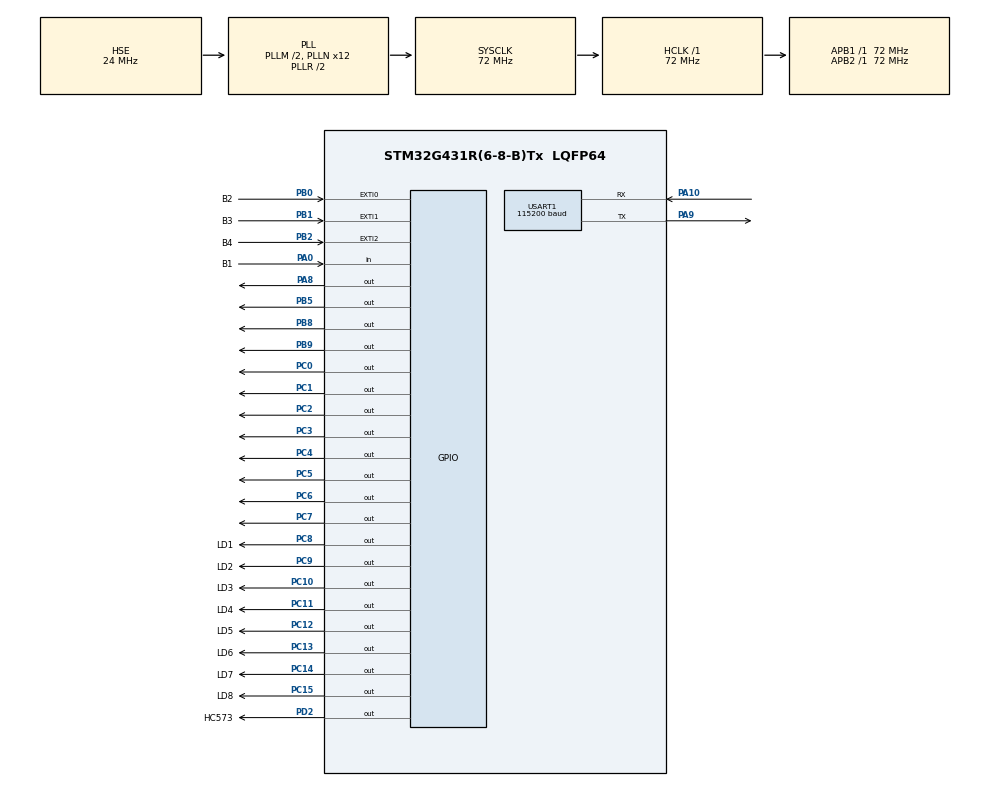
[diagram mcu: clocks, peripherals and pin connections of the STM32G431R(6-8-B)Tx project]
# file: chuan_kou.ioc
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Dma.Request0=USART1_RX
Dma.Request1=USART1_TX
Dma.USART1_RX.0.Direction=DMA_PERIPH_TO_MEMORY
Dma.USART1_RX.0.EventEnable=DISABLE
Dma.USART1_RX.0.Instance=DMA1_Channel1
Dma.USART1_RX.0.MemDataAlignment=DMA_MDATAALIGN_BYTE
Dma.USART1_RX.0.MemInc=DMA_MINC_ENABLE
Dma.USART1_RX.0.Mode=DMA_NORMAL
Dma.USART1_RX.0.PeriphDataAlignment=DMA_PDATAALIGN_BYTE
Dma.USART1_RX.0.PeriphInc=DMA_PINC_DISABLE
Dma.USART1_RX.0.Polarity=HAL_DMAMUX_REQ_GEN_RISING
Dma.USART1_RX.0.Priority=DMA_PRIORITY_LOW
Dma.USART1_RX.0.RequestNumber=1
Dma.USART1_RX.0.SignalID=NONE
Dma.USART1_RX.0.SyncEnable=DISABLE
Dma.USART1_RX.0.SyncPolarity=HAL_DMAMUX_SYNC_NO_EVENT
Dma.USART1_RX.0.SyncRequestNumber=1
Dma.USART1_RX.0.SyncSignalID=NONE
Dma.USART1_TX.1.Direction=DMA_MEMORY_TO_PERIPH
Dma.USART1_TX.1.EventEnable=DISABLE
Dma.USART1_TX.1.Instance=DMA1_Channel2
Dma.USART1_TX.1.MemDataAlignment=DMA_MDATAALIGN_BYTE
Dma.USART1_TX.1.MemInc=DMA_MINC_ENABLE
Dma.USART1_TX.1.Mode=DMA_NORMAL
Dma.USART1_TX.1.PeriphDataAlignment=DMA_PDATAALIGN_BYTE
Dma.USART1_TX.1.PeriphInc=DMA_PINC_DISABLE
Dma.USART1_TX.1.Polarity=HAL_DMAMUX_REQ_GEN_RISING
Dma.USART1_TX.1.Priority=DMA_PRIORITY_LOW
Dma.USART1_TX.1.RequestNumber=1
Dma.USART1_TX.1.SignalID=NONE
Dma.USART1_TX.1.SyncEnable=DISABLE
Dma.USART1_TX.1.SyncPolarity=HAL_DMAMUX_SYNC_NO_EVENT
Dma.USART1_TX.1.SyncRequestNumber=1
Dma.USART1_TX.1.SyncSignalID=NONE
Mcu.Family=STM32G4
Mcu.Name=STM32G431R(6-8-B)Tx
Mcu.Package=LQFP64
NVIC.DMA1_Channel1_IRQn=true\:0\:0\:false\:false\:true\:false\:true\:true
NVIC.DMA1_Channel2_IRQn=true\:0\:0\:false\:false\:true\:false\:true\:true
NVIC.EXTI0_IRQn=true\:15\:0\:true\:false\:true\:true\:true\:true
NVIC.EXTI1_IRQn=true\:15\:0\:true\:false\:true\:true\:true\:true
NVIC.EXTI2_IRQn=true\:15\:0\:true\:false\:true\:true\:true\:true
NVIC.PriorityGroup=NVIC_PRIORITYGROUP_4
NVIC.USART1_IRQn=true\:0\:0\:false\:false\:true\:true\:true\:true
PA0.GPIO_Label=B1
PA0.GPIO_PuPd=GPIO_PULLUP
PA0.Signal=GPIO_Input
PA10.Mode=Asynchronous
PA10.Signal=USART1_RX
PA13.Mode=Serial_Wire
PA13.Signal=SYS_JTMS-SWDIO
PA14.Mode=Serial_Wire
PA14.Signal=SYS_JTCK-SWCLK
PA8.Signal=GPIO_Output
PA9.Mode=Asynchronous
PA9.Signal=USART1_TX
PB0.GPIO_Label=B2
PB0.Signal=GPXTI0
PB1.GPIO_Label=B3
PB1.GPIO_ModeDefaultEXTI=GPIO_MODE_IT_FALLING
PB1.GPIO_PuPd=GPIO_PULLUP
PB1.Signal=GPXTI1
PB2.GPIO_Label=B4
PB2.GPIO_ModeDefaultEXTI=GPIO_MODE_IT_FALLING
PB2.GPIO_PuPd=GPIO_PULLUP
PB2.Signal=GPXTI2
PB5.Signal=GPIO_Output
PB8-BOOT0.Signal=GPIO_Output
PB9.Signal=GPIO_Output
PC0.Signal=GPIO_Output
PC1.Signal=GPIO_Output
PC10.GPIO_Label=LD3
PC10.Signal=GPIO_Output
PC11.GPIO_Label=LD4
PC11.Signal=GPIO_Output
PC12.GPIO_Label=LD5
PC12.Signal=GPIO_Output
PC13.GPIO_Label=LD6
PC13.Signal=GPIO_Output
PC14-OSC32_IN.GPIO_Label=LD7
PC14-OSC32_IN.Signal=GPIO_Output
PC15-OSC32_OUT.GPIO_Label=LD8
PC15-OSC32_OUT.Signal=GPIO_Output
PC2.Signal=GPIO_Output
PC3.Signal=GPIO_Output
PC4.Signal=GPIO_Output
PC5.Signal=GPIO_Output
PC6.Signal=GPIO_Output
PC7.Signal=GPIO_Output
PC8.GPIO_Label=LD1
PC8.Signal=GPIO_Output
PC9.GPIO_Label=LD2
PC9.Signal=GPIO_Output
PD2.GPIO_Label=HC573
PD2.Signal=GPIO_Output
PF0-OSC_IN.Mode=HSE-External-Oscillator
PF0-OSC_IN.Signal=RCC_OSC_IN
PF1-OSC_OUT.Mode=HSE-External-Oscillator
PF1-OSC_OUT.Signal=RCC_OSC_OUT
ProjectManager.HeapSize=0x200
ProjectManager.StackSize=0x400
ProjectManager.TargetToolchain=MDK-ARM V5
RCC.ADC12Freq_Value=72000000
RCC.AHBFreq_Value=72000000
RCC.APB1Freq_Value=72000000
RCC.APB1TimFreq_Value=72000000
RCC.APB2Freq_Value=72000000
RCC.APB2TimFreq_Value=72000000
RCC.CortexFreq_Value=72000000
RCC.EXTERNAL_CLOCK_VALUE=12288000
RCC.HCLKFreq_Value=72000000
RCC.HSE_VALUE=24000000
RCC.HSI48_VALUE=48000000
RCC.HSI_VALUE=16000000
RCC.LSE_VALUE=32768
RCC.PLLM=RCC_PLLM_DIV2
RCC.PLLN=12
RCC.PLLSourceVirtual=RCC_PLLSOURCE_HSE
RCC.SYSCLKFreq_VALUE=72000000
RCC.SYSCLKSource=RCC_SYSCLKSOURCE_PLLCLK
RCC.USBFreq_Value=72000000
RCC.VCOOutputFreq_Value=144000000
TIM4.PeriodNoDither=9999
TIM4.Prescaler=7199
USART1.BaudRate=115200
USART1.VirtualMode-Asynchronous=VM_ASYNC
VP_SYS_VS_DBSignals.Mode=DisableDeadBatterySignals
VP_TIM4_VS_ClockSourceINT.Mode=Internal
board=custom

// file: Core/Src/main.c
/* USER CODE BEGIN Header */
/**
  ******************************************************************************
  * @file           : main.c
  * @brief          : Main program body
  ******************************************************************************
  * @attention
  *
  * Copyright (c) 2025 STMicroelectronics.
  * All rights reserved.
  *
  * This software is licensed under terms that can be found in the LICENSE file
  * in the root directory of this software component.
  * If no LICENSE file comes with this software, it is provided AS-IS.
  *
  ******************************************************************************
  */
/* USER CODE END Header */
#include "main.h"
#include "dma.h"
#include "tim.h"
#include "usart.h"
#include "gpio.h"

/* USER CODE BEGIN Includes */
#include "deng.h"
#include "anjian.h"
#include "string.h"
#include "stm32g4xx_it.h"
#include <stdio.h>
/* USER CODE END Includes */

/* USER CODE BEGIN PV */
	unsigned char uart_data[1];
	unsigned char flag[10]="LED1ON";
	unsigned char flag1[10]="hello";
	unsigned char flag2[10]="nohello";

/* USER CODE END PV */

void SystemClock_Config(void);

/* USER CODE BEGIN 0 */
void Rx_Process(void)
{
     if(Rx_flg ==1)
      {

//           if(Rx_Buff[0] == 'b' && Rx_Buff[1] == 'l' && Rx_Buff[2] == 'i' && Rx_Buff[3] == 'n'
//               && Rx_Buff[4] == 'k'  )
           if(!strcmp((char*)Rx_Buff, (char*)"blink\r\n"))
           {

                HAL_UART_Transmit(&huart1,Rx_Buff, sizeof(Rx_Buff), 100);

           }
}
}
void HAL_UART_RxCpltCallback(UART_HandleTypeDef *huart){
		//if(huart->Instance==USART1)
  if(huart == &huart1)
  {
//        gucLed = aRX;

        Rx_Buff[Rx_cnt++] = aRX;

        if(0x0a == aRX)
        {
            Rx_flg = 1;
        }

        HAL_UART_Receive_DMA(&huart1, &aRX, sizeof(aRX));
  }
}
void HAL_UARTEx_RxEventCallback(UART_HandleTypeDef *huart, uint16_t Size){
	if(huart == &huart1)
  {
		HAL_UART_Transmit_DMA(&huart1, Rx_Buff, sizeof(Rx_Buff));
		if(!strcmp((char*)Rx_Buff, (char*)"blink\r\n"))
           {

                HAL_UART_Transmit(&huart1,Rx_Buff, sizeof(Rx_Buff), 100);

           }
			HAL_UART_Receive_DMA(&huart1, Rx_Buff, sizeof(Rx_Buff));

  }
}
void HAL_GPIO_EXTI_Callback(uint16_t GPIO_Pin){

}
/* USER CODE END 0 */

int main(void)
{

  /* MCU Configuration--------------------------------------------------------*/

  /* Reset of all peripherals, Initializes the Flash interface and the Systick. */
  HAL_Init();

  /* USER CODE BEGIN Init */

	LED_Init();

  /* USER CODE END Init */

  /* Configure the system clock */
  SystemClock_Config();

  /* Initialize all configured peripherals */
  MX_GPIO_Init();
  MX_DMA_Init();
  MX_USART1_UART_Init();
  MX_TIM4_Init();
  /* USER CODE BEGIN 2 */
	HAL_UARTEx_ReceiveToIdle_DMA(&huart1,Rx_Buff,sizeof(Rx_Buff));
	HAL_TIM_Base_Start(&htim4);
	int counter=0;
	char message[20];
	//Uart_Tx(uart_data,1);
	LED_OFF(LD1_Pin);
	LED_OFF(LD2_Pin);
	LED_OFF(LD3_Pin);
	LED_OFF(LD4_Pin);
	LED_OFF(LD5_Pin);
	LED_OFF(LD6_Pin);
	LED_OFF(LD7_Pin);
	LED_OFF(LD8_Pin);
  /* USER CODE END 2 */

  /* Infinite loop */
  /* USER CODE BEGIN WHILE */
  while (1)
  {
		counter=__HAL_TIM_GET_COUNTER(&htim4);
		sprintf(message,"counter:%d",counter);
		HAL_UART_Transmit_DMA(&huart1,(uint8_t*)message,strlen(message));
		HAL_Delay(99);
		if(key_value==2){
				LED_ON(LD1_Pin);
				HAL_Delay(500);
				LED_OFF(LD1_Pin);
				LED_ON(LD2_Pin);
				HAL_Delay(500);
				LED_OFF(LD2_Pin);
				LED_ON(LD3_Pin);
				HAL_Delay(500);
				LED_OFF(LD3_Pin);
				LED_ON(LD4_Pin);
				HAL_Delay(500);
				LED_OFF(LD4_Pin);
		}else if(key_value==3){
				LED_ON(LD4_Pin);
				HAL_Delay(500);
				LED_OFF(LD4_Pin);
				LED_ON(LD3_Pin);
				HAL_Delay(500);
				LED_OFF(LD3_Pin);
				LED_ON(LD2_Pin);
				HAL_Delay(500);
				LED_OFF(LD2_Pin);
				LED_ON(LD1_Pin);
				HAL_Delay(500);
				LED_OFF(LD1_Pin);
		}else if(count%2){
				LED_ON(LD5_Pin);
				LED_ON(LD6_Pin);
				LED_ON(LD7_Pin);
				LED_ON(LD8_Pin);
				HAL_Delay(500);
				LED_OFF(LD5_Pin);
				LED_OFF(LD6_Pin);
				LED_OFF(LD7_Pin);
				LED_OFF(LD8_Pin);
				HAL_Delay(500);
		}	else if(!count%2){
				LED_OFF(LD5_Pin);
				LED_OFF(LD6_Pin);
				LED_OFF(LD7_Pin);
				LED_OFF(LD8_Pin);
		}

		/*switch (uart_data[0]){
			case 1:
				LED_ON(LD1_Pin);
				Uart_Tx(flag,10);
				HAL_Delay(1000);
				LED_OFF(LD1_Pin);
				uart_data[0]=0;
				break;
			case 2:
				LED_ON(LD2_Pin);
				HAL_Delay(1000);
				LED_OFF(LD2_Pin);
				uart_data[0]=0;

				break;
			case 3:
				LED_ON(LD3_Pin);
				HAL_Delay(1000);
				LED_OFF(LD3_Pin);
				uart_data[0]=0;
				break;
			case 4:
				LED_ON(LD4_Pin);
				HAL_Delay(1000);
				LED_OFF(LD4_Pin);
				uart_data[0]=0;
				break;
			case 5:
				LED_ON(LD5_Pin);
				HAL_Delay(1000);
				LED_OFF(LD5_Pin);
				uart_data[0]=0;
				break;
			case 6:
				LED_ON(LD6_Pin);
				HAL_Delay(1000);
				LED_OFF(LD6_Pin);
				uart_data[0]=0;
				break;
			case 7:
				LED_ON(LD7_Pin);
				HAL_Delay(1000);
				LED_OFF(LD7_Pin);
				uart_data[0]=0;
				break;
			case 8:
				LED_ON(LD8_Pin);
				HAL_Delay(1000);
				LED_OFF(LD8_Pin);
				uart_data[0]=0;
				break;
			default:
				break;
		}
		*/

	}

	}

    /* USER CODE END WHILE */

void SystemClock_Config(void)
{
  RCC_OscInitTypeDef RCC_OscInitStruct = {0};
  RCC_ClkInitTypeDef RCC_ClkInitStruct = {0};

  /** Configure the main internal regulator output voltage
  */
  HAL_PWREx_ControlVoltageScaling(PWR_REGULATOR_VOLTAGE_SCALE1);

  /** Initializes the RCC Oscillators according to the specified parameters
  * in the RCC_OscInitTypeDef structure.
  */
  RCC_OscInitStruct.OscillatorType = RCC_OSCILLATORTYPE_HSE;
  RCC_OscInitStruct.HSEState = RCC_HSE_ON;
  RCC_OscInitStruct.PLL.PLLState = RCC_PLL_ON;
  RCC_OscInitStruct.PLL.PLLSource = RCC_PLLSOURCE_HSE;
  RCC_OscInitStruct.PLL.PLLM = RCC_PLLM_DIV2;
  RCC_OscInitStruct.PLL.PLLN = 12;
  RCC_OscInitStruct.PLL.PLLP = RCC_PLLP_DIV2;
  RCC_OscInitStruct.PLL.PLLQ = RCC_PLLQ_DIV2;
  RCC_OscInitStruct.PLL.PLLR = RCC_PLLR_DIV2;
  if (HAL_RCC_OscConfig(&RCC_OscInitStruct) != HAL_OK)
  {
    Error_Handler();
  }

  /** Initializes the CPU, AHB and APB buses clocks
  */
  RCC_ClkInitStruct.ClockType = RCC_CLOCKTYPE_HCLK|RCC_CLOCKTYPE_SYSCLK
                              |RCC_CLOCKTYPE_PCLK1|RCC_CLOCKTYPE_PCLK2;
  RCC_ClkInitStruct.SYSCLKSource = RCC_SYSCLKSOURCE_PLLCLK;
  RCC_ClkInitStruct.AHBCLKDivider = RCC_SYSCLK_DIV1;
  RCC_ClkInitStruct.APB1CLKDivider = RCC_HCLK_DIV1;
  RCC_ClkInitStruct.APB2CLKDivider = RCC_HCLK_DIV1;

  if (HAL_RCC_ClockConfig(&RCC_ClkInitStruct, FLASH_LATENCY_2) != HAL_OK)
  {
    Error_Handler();
  }
}

void Error_Handler(void)
{
  __disable_irq();
  while (1)
  {
  }
}
